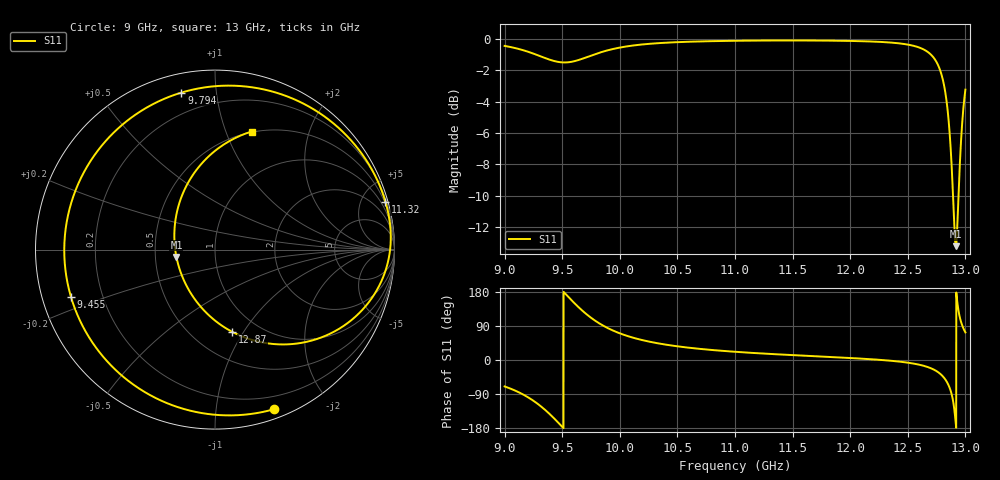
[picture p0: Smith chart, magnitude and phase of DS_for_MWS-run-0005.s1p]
! TOUCHSTONE file generated by CST DESIGN STUDIO
! Date and time: Tue Feb  4 18:03:58 2025
! Project name: C:\Work\MatlabApps\UnitCellOptimizationMatlab\CST\unitcell.cst
! Tree item: Tasks\Sweep1\SPara1\S-Parameters
! Header version: 2024
! Port assignment regex: !\s*Touchstone port\s*([0-9]+)\s*=\s*(CST MWS port|CST DES external port|CST DES block port)\s*(.+)\s* \(\"(.*)\"\)(\s*mode\s*([0-9]+))?.*
! Touchstone port assignment:
! Touchstone port 1 = CST DES external port 1 ("")
# GHz S MA R 50
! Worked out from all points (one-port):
!   4001 points, 9 GHz to 13 GHz, reference 50 ohm
!   lowest |S11| = -13.2 dB at 12.92 GHz (marker M1), VSWR 1.56, Z = 32.2 - j2.79 ohm
!   |S11| at or under -10 dB: 12.8926 GHz to 12.94014 GHz (47.54 MHz wide, 0.368 % of centre)
!   S11 on the Smith chart (normalised r, x): 9 GHz: 0.08, -1.43; 9.455 GHz: 0.09, -0.16; 9.794 GHz: 0.09, +0.80; 11.32 GHz: 0.37, +7.24; 12.87 GHz: 0.76, -0.89; 13 GHz: 0.49, +1.23
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9  0.9481 -69.7
9.15  0.9211 -89.3
9.26  0.8933 -109.7
9.356  0.8662 -132.8
9.455  0.8446 -161.9
9.5  0.8403 -176.3
9.573  0.8429 160.2
9.656  0.8583 135.4
9.723  0.8756 117.8
9.794  0.8945 102.1
10  0.9365 70.3
10.216  0.9598 51.0
10.5  0.9744 36.1
11  0.9843 21.7
11.323  0.9864 15.7
11.5  0.9866 12.9
12  0.9832 5.3
12.5  0.9572 -7.0
12.649  0.9191 -16.3
12.743  0.8501 -28.2
12.809  0.7274 -44.8
12.843  0.605 -59.9
12.869  0.4675 -78.3
12.892  0.32 -106.1
12.917  0.2188 -169.1
12.939  0.3085 132.3
12.963  0.4786 99.7
13  0.6883 72.8
